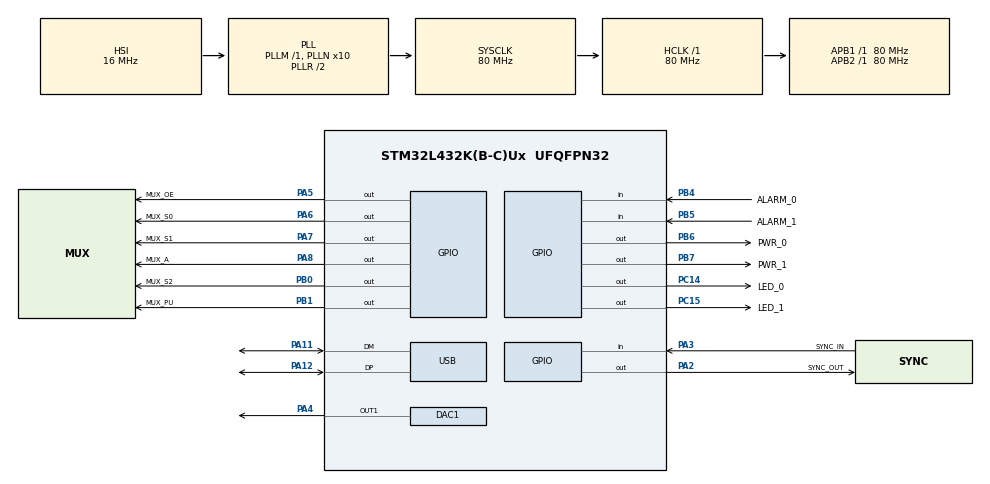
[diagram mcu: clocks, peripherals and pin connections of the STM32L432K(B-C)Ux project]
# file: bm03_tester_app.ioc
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CRC.InputDataFormat=CRC_INPUTDATA_FORMAT_WORDS
Mcu.Family=STM32L4
Mcu.Name=STM32L432K(B-C)Ux
Mcu.Package=UFQFPN32
NVIC.PriorityGroup=NVIC_PRIORITYGROUP_4
NVIC.USB_IRQn=true\:0\:0\:false\:false\:true\:true\:true\:true
PA11.Mode=Device
PA11.Signal=USB_DM
PA12.Mode=Device
PA12.Signal=USB_DP
PA13\ (JTMS-SWDIO).Mode=Serial_Wire
PA13\ (JTMS-SWDIO).Signal=SYS_JTMS-SWDIO
PA14\ (JTCK-SWCLK).Mode=Serial_Wire
PA14\ (JTCK-SWCLK).Signal=SYS_JTCK-SWCLK
PA2.GPIO_Label=SYNC_OUT
PA2.Signal=GPIO_Output
PA3.GPIO_Label=SYNC_IN
PA3.Signal=GPIO_Input
PA4.Signal=COMP_DAC11_group
PA5.GPIO_Label=MUX_OE
PA5.Signal=GPIO_Output
PA6.GPIO_Label=MUX_S0
PA6.Signal=GPIO_Output
PA7.GPIO_Label=MUX_S1
PA7.Signal=GPIO_Output
PA8.GPIO_Label=MUX_A
PA8.GPIO_ModeDefaultOutputPP=GPIO_MODE_OUTPUT_OD
PA8.GPIO_PuPd=GPIO_NOPULL
PA8.PinState=GPIO_PIN_SET
PA8.Signal=GPIO_Output
PB0.GPIO_Label=MUX_S2
PB0.Signal=GPIO_Output
PB1.GPIO_Label=MUX_PU
PB1.GPIO_Speed=GPIO_SPEED_FREQ_VERY_HIGH
PB1.PinState=GPIO_PIN_SET
PB1.Signal=GPIO_Output
PB4\ (NJTRST).GPIO_Label=ALARM_0
PB4\ (NJTRST).GPIO_PuPd=GPIO_PULLDOWN
PB4\ (NJTRST).Signal=GPIO_Input
PB5.GPIO_Label=ALARM_1
PB5.GPIO_PuPd=GPIO_PULLDOWN
PB5.Signal=GPIO_Input
PB6.GPIO_Label=PWR_0
PB6.GPIO_ModeDefaultOutputPP=GPIO_MODE_OUTPUT_OD
PB6.GPIO_PuPd=GPIO_NOPULL
PB6.GPIO_Speed=GPIO_SPEED_FREQ_VERY_HIGH
PB6.PinState=GPIO_PIN_SET
PB6.Signal=GPIO_Output
PB7.GPIO_Label=PWR_1
PB7.GPIO_ModeDefaultOutputPP=GPIO_MODE_OUTPUT_OD
PB7.GPIO_PuPd=GPIO_NOPULL
PB7.GPIO_Speed=GPIO_SPEED_FREQ_VERY_HIGH
PB7.PinState=GPIO_PIN_SET
PB7.Signal=GPIO_Output
PC14-OSC32_IN\ (PC14).GPIO_Label=LED_0
PC14-OSC32_IN\ (PC14).Signal=GPIO_Output
PC15-OSC32_OUT\ (PC15).GPIO_Label=LED_1
PC15-OSC32_OUT\ (PC15).Signal=GPIO_Output
ProjectManager.HeapSize=0x200
ProjectManager.StackSize=0x400
ProjectManager.TargetToolchain=STM32CubeIDE
RCC.ADCFreq_Value=64000000
RCC.AHBFreq_Value=80000000
RCC.APB1Freq_Value=80000000
RCC.APB1TimFreq_Value=80000000
RCC.APB2Freq_Value=80000000
RCC.APB2TimFreq_Value=80000000
RCC.CK48CLockSelection=RCC_USBCLKSOURCE_HSI48
RCC.CortexFreq_Value=80000000
RCC.HCLKFreq_Value=80000000
RCC.HSE_VALUE=8000000
RCC.HSI48_VALUE=48000000
RCC.HSI_VALUE=16000000
RCC.LSE_VALUE=32768
RCC.MSI_VALUE=4000000
RCC.PLLN=10
RCC.PLLSourceVirtual=RCC_PLLSOURCE_HSI
RCC.SYSCLKFreq_VALUE=80000000
RCC.SYSCLKSource=RCC_SYSCLKSOURCE_PLLCLK
RCC.USBFreq_Value=48000000
RCC.VCOOutputFreq_Value=160000000
SH.COMP_DAC11_group.0=DAC1_OUT1,DAC_OUT1
TIM6.Prescaler=79
USB_DEVICE.APP_RX_DATA_SIZE=64
USB_DEVICE.APP_TX_DATA_SIZE=64
USB_DEVICE.CLASS_NAME_FS=CDC
USB_DEVICE.PRODUCT_STRING_CDC_FS=BM03 Tester
USB_DEVICE.VirtualMode=Cdc
USB_DEVICE.VirtualModeFS=Cdc_FS
VP_CRC_VS_CRC.Mode=CRC_Activate
VP_IWDG_VS_IWDG.Mode=IWDG_Activate
VP_TIM6_VS_ClockSourceINT.Mode=Enable_Timer
VP_USB_DEVICE_VS_USB_DEVICE_CDC_FS.Mode=CDC_FS
board=custom

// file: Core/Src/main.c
/* USER CODE BEGIN Header */
/**
  ******************************************************************************
  * @file           : main.c
  * @brief          : Main program body
  ******************************************************************************
  * @attention
  *
  * Copyright (c) 2024 STMicroelectronics.
  * All rights reserved.
  *
  * This software is licensed under terms that can be found in the LICENSE file
  * in the root directory of this software component.
  * If no LICENSE file comes with this software, it is provided AS-IS.
  *
  ******************************************************************************
  */
/* USER CODE END Header */
#include "main.h"
#include "crc.h"
#include "dac.h"
#include "iwdg.h"
#include "tim.h"
#include "usb_device.h"
#include "gpio.h"

/* USER CODE BEGIN Includes */
#include "system_msp.h"
#include "configuration.h"
#include "flash_app.h"
#include "flash_conf.h"
#include "usbd_cdc_if.h"
#include "control.h"
#include "mux.h"
#include "at21cs01.h"
#include "pads.h"
#include "signal.h"
#include "switch.h"
/* USER CODE END Includes */

void SystemClock_Config(void);

int main(void)
{

  /* USER CODE BEGIN 1 */
  uint32_t tmr_slow = 0;
  uint32_t tmr_fast = 0;

  RCC->CFGR = 0x00000000U;  // workaround - disable PLL otherwise clock config returns error
  System_RemapVector();
  __enable_irq();
  SET_BIT(DBGMCU->APB1FZR1, DBGMCU_APB1FZR1_DBG_IWDG_STOP);
  /* USER CODE END 1 */

  /* MCU Configuration--------------------------------------------------------*/

  /* Reset of all peripherals, Initializes the Flash interface and the Systick. */
  HAL_Init();

  /* Configure the system clock */
  SystemClock_Config();

  /* Initialize all configured peripherals */
  MX_GPIO_Init();
  MX_CRC_Init();
  MX_USB_DEVICE_Init();
  MX_IWDG_Init();
  MX_TIM6_Init();
  MX_DAC1_Init();
  /* USER CODE BEGIN 2 */

  /* Initialize all modules */
  Config_Init();
  FlashApp_Init();
  Control_Init();
  Mux_Init();
  Pads_Init();
  Signal_Init();
  Switch_Init();

  /* Set initial function */
  System_ReloadWdg();

  tmr_fast = HAL_GetTick();
  /* USER CODE END 2 */

  /* Infinite loop */
  while (1)
  {

    /* USER CODE BEGIN 3 */
    CDC_PacketReceived();

    // Slow loop
    if (TICK_EXPIRED(tmr_slow))
    {
      tmr_slow += 100;
      /* Periodic handles */
      System_ReloadWdg();
      FlashApp_Handle();
      Control_Handle();
      Pads_Handle();
//      Mux_Handle();

      HAL_GPIO_WritePin(LED_1_GPIO_Port, LED_1_Pin, conf.bm.pads != 8);
    }

    // Fast Handle
    if (TICK_EXPIRED(tmr_fast))
    {
      tmr_fast += 5;
      Signal_Handle();

      Switch_GetAll();
      Switch_WriteAll();

    }

  }
  /* USER CODE END 3 */
}

void SystemClock_Config(void)
{
  RCC_OscInitTypeDef RCC_OscInitStruct = {0};
  RCC_ClkInitTypeDef RCC_ClkInitStruct = {0};

  /** Configure the main internal regulator output voltage
  */
  if (HAL_PWREx_ControlVoltageScaling(PWR_REGULATOR_VOLTAGE_SCALE1) != HAL_OK)
  {
    Error_Handler();
  }

  /** Initializes the RCC Oscillators according to the specified parameters
  * in the RCC_OscInitTypeDef structure.
  */
  RCC_OscInitStruct.OscillatorType = RCC_OSCILLATORTYPE_HSI48|RCC_OSCILLATORTYPE_HSI
                              |RCC_OSCILLATORTYPE_LSI;
  RCC_OscInitStruct.HSIState = RCC_HSI_ON;
  RCC_OscInitStruct.HSI48State = RCC_HSI48_ON;
  RCC_OscInitStruct.HSICalibrationValue = RCC_HSICALIBRATION_DEFAULT;
  RCC_OscInitStruct.LSIState = RCC_LSI_ON;
  RCC_OscInitStruct.PLL.PLLState = RCC_PLL_ON;
  RCC_OscInitStruct.PLL.PLLSource = RCC_PLLSOURCE_HSI;
  RCC_OscInitStruct.PLL.PLLM = 1;
  RCC_OscInitStruct.PLL.PLLN = 10;
  RCC_OscInitStruct.PLL.PLLP = RCC_PLLP_DIV7;
  RCC_OscInitStruct.PLL.PLLQ = RCC_PLLQ_DIV2;
  RCC_OscInitStruct.PLL.PLLR = RCC_PLLR_DIV2;
  if (HAL_RCC_OscConfig(&RCC_OscInitStruct) != HAL_OK)
  {
    Error_Handler();
  }

  /** Initializes the CPU, AHB and APB buses clocks
  */
  RCC_ClkInitStruct.ClockType = RCC_CLOCKTYPE_HCLK|RCC_CLOCKTYPE_SYSCLK
                              |RCC_CLOCKTYPE_PCLK1|RCC_CLOCKTYPE_PCLK2;
  RCC_ClkInitStruct.SYSCLKSource = RCC_SYSCLKSOURCE_PLLCLK;
  RCC_ClkInitStruct.AHBCLKDivider = RCC_SYSCLK_DIV1;
  RCC_ClkInitStruct.APB1CLKDivider = RCC_HCLK_DIV1;
  RCC_ClkInitStruct.APB2CLKDivider = RCC_HCLK_DIV1;

  if (HAL_RCC_ClockConfig(&RCC_ClkInitStruct, FLASH_LATENCY_4) != HAL_OK)
  {
    Error_Handler();
  }
}

void Error_Handler(void)
{
  __disable_irq();
  while (1)
  {
  }
}
